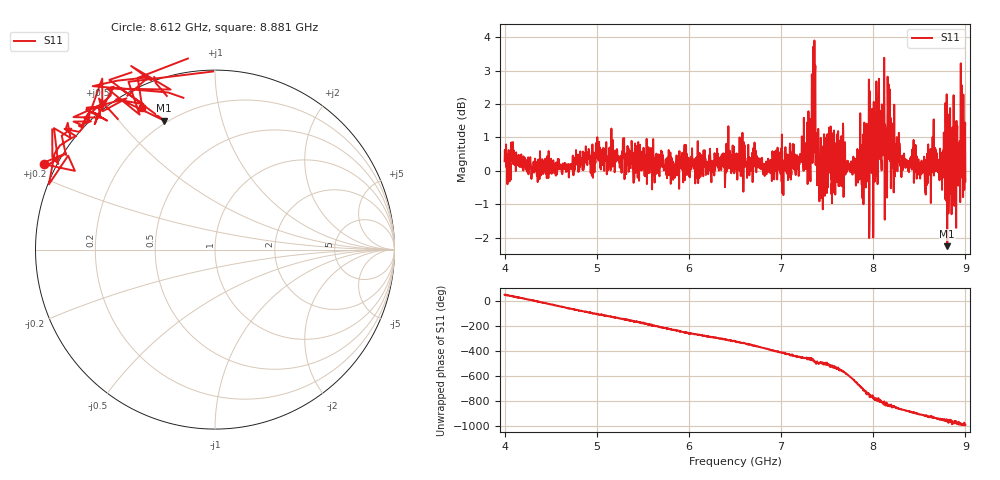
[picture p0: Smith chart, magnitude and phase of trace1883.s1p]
! Created with skrf 1.8.0 (http://scikit-rf.org).
# Hz S RI R 50.0
!freq ReS11 ImS11
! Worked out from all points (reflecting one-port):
!   1601 points, 4 GHz to 9 GHz, reference 50 ohm
!   lowest |S11| = -2.2 dB at 8.803 GHz (marker M1), VSWR 7.77, Z = 9.35 + j33.2 ohm
!   phase of S11 starts at 51 deg and turns -1047 deg over the sweep
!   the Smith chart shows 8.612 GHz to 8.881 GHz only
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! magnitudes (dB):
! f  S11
! 4 GHz  0.3
! 4.625 GHz  -0.1
! 5.009 GHz  0.5
! 5.25 GHz  0.1
! 5.875 GHz  0.2
! 6.5 GHz  0.3
! 7.125 GHz  0.8
! 7.297 GHz  1.8
! 7.328 GHz  0.6
! 7.347 GHz  3.7
! 7.381 GHz  0.3
! 7.4 GHz  0.6
! 7.431 GHz  1.0
! 7.512 GHz  0.8
! 7.566 GHz  -0.6
! 7.662 GHz  0.4
! 7.75 GHz  0.0
! 7.897 GHz  0.5
! 7.928 GHz  1.4
! 7.981 GHz  0.8
! 8.097 GHz  1.1
! 8.375 GHz  0.2
! 8.566 GHz  0.0
! 8.656 GHz  1.5
! 8.803 GHz  -2.2
! 8.919 GHz  0.0
! 8.972 GHz  1.1
! 9 GHz  -0.3
